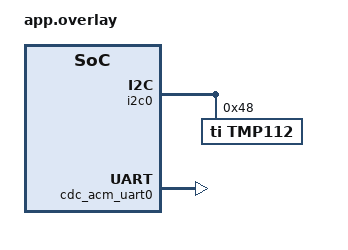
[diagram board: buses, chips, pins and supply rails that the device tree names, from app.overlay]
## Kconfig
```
source "Kconfig.zephyr"

module = APPMAIN
module-str = APPMAIN
source "${ZEPHYR_BASE}/subsys/logging/Kconfig.template.log_config"

module = APPSENS
module-str = APPSENS
source "${ZEPHYR_BASE}/subsys/logging/Kconfig.template.log_config"
```

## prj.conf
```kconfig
# Peripheral drivers
CONFIG_GPIO=y
CONFIG_I2C=y
CONFIG_SERIAL=y

# sensors 
CONFIG_SENSOR=y

CONFIG_TMP112=y

CONFIG_STDOUT_CONSOLE=y

CONFIG_LOG=y
CONFIG_LOG_PRINTK=y
CONFIG_USE_SEGGER_RTT=y
CONFIG_RTT_CONSOLE=n

#USB related configs
CONFIG_USB_DEVICE_STACK=y
CONFIG_USB_DEVICE_PRODUCT="Zephyr CDC ACM sample"
CONFIG_USB_DEVICE_PID=0x0001
CONFIG_UART_INTERRUPT_DRIVEN=y
CONFIG_UART_LINE_CTRL=y
CONFIG_USB_DEVICE_INITIALIZE_AT_BOOT=n

# Log Levels 
CONFIG_APPMAIN_LOG_LEVEL_DBG=y
CONFIG_USB_DRIVER_LOG_LEVEL_ERR=y
CONFIG_USB_DEVICE_LOG_LEVEL_ERR=y
```

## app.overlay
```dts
/*
 * Copyright (c) 2021 Nordic Semiconductor ASA
 *
 * SPDX-License-Identifier: Apache-2.0
 */

&i2c0 {
	tmp112@48 {
		compatible = "ti,tmp112";
		reg = <0x48>;
	};
};

&zephyr_udc0 {
	cdc_acm_uart0 {
		compatible = "zephyr,cdc-acm-uart";
	};
};
```

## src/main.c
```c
/*
 * Copyright (c) 2016 Intel Corporation
 *
 * SPDX-License-Identifier: Apache-2.0
 */

// system includes ------------------------------------------------------------
#include <zephyr/kernel.h>
#include <zephyr/device.h>
#include <zephyr/drivers/gpio.h>
#include <zephyr/drivers/uart.h>
#include <zephyr/drivers/sensor.h>

#include <zephyr/sys/util.h>
#include <zephyr/sys/ring_buffer.h>
#include <zephyr/usb/usb_device.h>
#include <zephyr/usb/usbd.h>

#include <zephyr/logging/log.h>

#include <inttypes.h>
#include <stdio.h>
#include <string.h>

// local includes -------------------------------------------------------------

// library includes -----------------------------------------------------------

// Macros and Defines ---------------------------------------------------------
LOG_MODULE_REGISTER(APPMAIN, CONFIG_APPMAIN_LOG_LEVEL);

/* 1000 msec = 1 sec */
#define SLEEP_TIME_MS   1000

/* The devicetree node identifier for the "led0" alias. */
#define LEDR_NODE DT_ALIAS(led0)
#define LEDG_NODE DT_ALIAS(led1)
#define LEDB_NODE DT_ALIAS(led2)

/*
 * Get button configuration from the devicetree sw0 alias. This is mandatory.
 */
#define SW0_NODE	DT_ALIAS(sw0)
#if !DT_NODE_HAS_STATUS(SW0_NODE, okay)
#error "Unsupported board: sw0 devicetree alias is not defined"
#endif

#define SW1_NODE	DT_ALIAS(sw1)
#if !DT_NODE_HAS_STATUS(SW1_NODE, okay)
#error "Unsupported board: sw1 devicetree alias is not defined"
#endif

#define RING_BUF_SIZE 1024

// enumerations ---------------------------------------------------------------

/*
 * A build error on this line means your board is unsupported.
 * See the sample documentation for information on how to fix this.
 */
enum eled {RED_LED, GREEN_LED, BLUE_LED, END_LED};

// structures -----------------------------------------------------------------

/// define the gpio callback
static struct gpio_callback button0_cb_data;
static struct gpio_callback button1_cb_data;

// global parameter declarations ----------------------------------------------

// local parameter declarations -----------------------------------------------
uint8_t ring_buffer[RING_BUF_SIZE];
struct ring_buf ringbuf;

// local function prototypes --------------------------------------------------
static int configure_leds(void);
static int configure_btns(void);
static int configure_usb(void);

// constant parameter initializations -----------------------------------------
static const struct gpio_dt_spec leds[] = 
{
  GPIO_DT_SPEC_GET(LEDR_NODE, gpios),
  GPIO_DT_SPEC_GET(LEDG_NODE, gpios),
  GPIO_DT_SPEC_GET(LEDB_NODE, gpios)
};

static const struct gpio_dt_spec button0 = GPIO_DT_SPEC_GET_OR(SW0_NODE, gpios,
							      {0});
static const struct gpio_dt_spec button1 = GPIO_DT_SPEC_GET_OR(SW1_NODE, gpios,
							      {0});

const struct device *dev_usb = DEVICE_DT_GET_ONE(zephyr_cdc_acm_uart);
const struct device *const dev_temp = DEVICE_DT_GET_ANY(ti_tmp112);

void button0_pressed(const struct device *dev, struct gpio_callback *cb,
		    uint32_t pins)
{
  LOG_DBG("Button 0 pressed at %" PRIu32 "", k_cycle_get_32());
}

void button1_pressed(const struct device *dev, struct gpio_callback *cb,
		    uint32_t pins)
{
  LOG_DBG("Button 1 pressed at %" PRIu32 "", k_cycle_get_32());
}

int main(void)
{
	int ret;
  uint8_t active_led = 0;
 	struct sensor_value attr;
  struct sensor_value temp_value;

  LOG_DBG("Let's go!");

  if (!configure_leds())
  {
    LOG_ERR("leds not ready");
    return 0;
  }

  if (!configure_btns())
  {
    LOG_ERR("buttons not ready");
    return 0;
  }

  if (IS_ENABLED(CONFIG_TMP112))
  {
    if (!device_is_ready(dev_temp))
    {
      LOG_ERR("Error: Device %s is not ready", dev_temp->name);
      return 0;
    }


    attr.val1 = 150;
    attr.val2 = 0;
    ret = sensor_attr_set(dev_temp, SENSOR_CHAN_AMBIENT_TEMP,
                          SENSOR_ATTR_FULL_SCALE, &attr);
    if (ret) 
    {
      LOG_ERR("sensor_attr_set failed ret %d", ret);
      return 0;
    }

    attr.val1 = 8;
    attr.val2 = 0;
    ret = sensor_attr_set(dev_temp, SENSOR_CHAN_AMBIENT_TEMP,
                          SENSOR_ATTR_SAMPLING_FREQUENCY, &attr);
    if (ret) 
    {
      LOG_ERR("sensor_attr_set failed ret %d\n", ret);
      return 0;
    }
  }

  if (!configure_usb())
  {
    LOG_ERR("usb not ready");
    return 0;
  }

  while (1) 
  {
    if (IS_ENABLED(CONFIG_TMP112))
    {
  		ret = sensor_sample_fetch(dev_temp);
  		if (ret) 
      {
  			LOG_ERR("sensor_sample_fetch failed ret %d", ret);
  			continue;
  		}

  		ret = sensor_channel_get(dev_temp, SENSOR_CHAN_AMBIENT_TEMP, &temp_value);
  		if (ret) 
      {
  			LOG_ERR("sensor_channel_get failed ret %d", ret);
  			continue;
  		}

  		LOG_INF("temp is %d (%d micro)", temp_value.val1, temp_value.val2);
    }


    for (uint8_t x = 0; x < 3; x++)
    {
      if (x == active_led)
      {
        ret = gpio_pin_set_dt(&leds[x], 1);
      }
      else
      {
        ret = gpio_pin_set_dt(&leds[x], 0);
      }

      if (ret < 0) 
      {
        LOG_ERR("led set fail");
        return 0;
      }
    }

    active_led++;
    if (active_led == END_LED)
    {
      active_led = RED_LED;
    }

		k_msleep(SLEEP_TIME_MS);
	}

  return 0;
}

static int configure_leds(void)
{
  int ret;

  if (!gpio_is_ready_dt(&leds[0]))
  {
    LOG_ERR("gpio not ready");
    return 0;
  }

  for (uint8_t x = 0; x < END_LED; x++)
  {
    ret = gpio_pin_configure_dt(&leds[x], GPIO_OUTPUT_INACTIVE);
    if (ret < 0) 
    {
      LOG_ERR("gpio red configure fail");
      return 0;
    }
  }

  // Turn on the red led solid until usb port is opened
  gpio_pin_configure_dt(&leds[RED_LED], GPIO_OUTPUT_ACTIVE);

  return 1;
}

static int configure_btns(void)
{
  int ret;

  if (!gpio_is_ready_dt(&button0)) 
  {
		LOG_ERR("Error: button device %s is not ready",
		       button0.port->name);
		return 0;
	}

  if (!gpio_is_ready_dt(&button1)) 
  {
    LOG_ERR("Error: button device %s is not ready",
           button1.port->name);
    return 0;
  }

	ret = gpio_pin_configure_dt(&button0, GPIO_INPUT);
	if (ret != 0) 
  {
		LOG_ERR("Error %d: failed to configure %s pin %d",
		       ret, button0.port->name, button0.pin);
		return 0;
	}

  ret = gpio_pin_configure_dt(&button1, GPIO_INPUT);
  if (ret != 0) 
  {
    LOG_ERR("Error %d: failed to configure %s pin %d",
           ret, button1.port->name, button1.pin);
    return 0;
  }

  ret = gpio_pin_interrupt_configure_dt(&button0,
					      GPIO_INT_EDGE_TO_ACTIVE);
	if (ret != 0) {
		LOG_ERR("Error %d: failed to configure interrupt on %s pin %d",
			ret, button0.port->name, button0.pin);
		return 0;
	}

  ret = gpio_pin_interrupt_configure_dt(&button1,
                GPIO_INT_EDGE_TO_ACTIVE);
  if (ret != 0) {
    LOG_ERR("Error %d: failed to configure interrupt on %s pin %d",
      ret, button1.port->name, button1.pin);
    return 0;
  }

  gpio_init_callback(&button0_cb_data, button0_pressed, BIT(button0.pin));
	gpio_add_callback(button0.port, &button0_cb_data);

  gpio_init_callback(&button1_cb_data, button1_pressed, BIT(button1.pin));
  gpio_add_callback(button1.port, &button1_cb_data);

  LOG_ERR("Set up button0 at %s pin %d", button0.port->name, button0.pin);
  LOG_ERR("Set up button1 at %s pin %d", button1.port->name, button1.pin);

  return 1;
}

static void interrupt_handler(const struct device *dev, void *user_data)
{
	ARG_UNUSED(user_data);

	while (uart_irq_update(dev) && uart_irq_is_pending(dev)) 
  {
		if (uart_irq_rx_ready(dev)) 
    {
			int recv_len, rb_len;
			uint8_t buffer[64];
			size_t len = MIN(ring_buf_space_get(&ringbuf),
					 sizeof(buffer));

			recv_len = uart_fifo_read(dev, buffer, len);
			if (recv_len < 0) 
      {
				LOG_ERR("Failed to read UART FIFO");
				recv_len = 0;
			};

			rb_len = ring_buf_put(&ringbuf, buffer, recv_len);
			if (rb_len < recv_len) 
      {
				LOG_ERR("Drop %u bytes", recv_len - rb_len);
			}

			LOG_DBG("tty fifo -> ringbuf %d bytes", rb_len);
			if (rb_len) 
      {
				uart_irq_tx_enable(dev);
			}
		}

		if (uart_irq_tx_ready(dev)) 
    {
			uint8_t buffer[64];
			int rb_len, send_len;

			rb_len = ring_buf_get(&ringbuf, buffer, sizeof(buffer));
			if (!rb_len) 
      {
				LOG_DBG("Ring buffer empty, disable TX IRQ");
				uart_irq_tx_disable(dev);
				continue;
			}

			send_len = uart_fifo_fill(dev, buffer, rb_len);
			if (send_len < rb_len) 
      {
				LOG_ERR("Drop %d bytes", rb_len - send_len);
			}

			LOG_DBG("ringbuf -> tty fifo %d bytes", send_len);
		}
	}
}

static int configure_usb(void)
{
  int ret;
  uint32_t baudrate, dtr = 0U;

  if (!device_is_ready(dev_usb)) 
  {
    LOG_ERR("CDC ACM device not ready");
    return 0;
  }

  ret = usb_enable(NULL);
  if (ret != 0) 
  {
    LOG_ERR("Failed to enable USB");
    return 0;
  }

  ring_buf_init(&ringbuf, sizeof(ring_buffer), ring_buffer);

  LOG_INF("Wait for DTR");
  while (true) 
  {
    uart_line_ctrl_get(dev_usb, UART_LINE_CTRL_DTR, &dtr);
    if (dtr) 
    {
      break;
    }
    else 
    {
      /* Give CPU resources to low priority threads. */
      k_sleep(K_MSEC(100));
    }
  }

  LOG_INF("DTR set");

  /* They are optional, we use them to test the interrupt endpoint */
  ret = uart_line_ctrl_set(dev_usb, UART_LINE_CTRL_DCD, 1);
  if (ret) 
  {
    LOG_WRN("Failed to set DCD, ret code %d", ret);
  }

  ret = uart_line_ctrl_set(dev_usb, UART_LINE_CTRL_DSR, 1);
  if (ret) 
  {
    LOG_WRN("Failed to set DSR, ret code %d", ret);
  }

  /* Wait 100ms for the host to do all settings */
  k_msleep(100);

  ret = uart_line_ctrl_get(dev_usb, UART_LINE_CTRL_BAUD_RATE, &baudrate);
  if (ret) 
  {
    LOG_WRN("Failed to get baudrate, ret code %d", ret);
  }
  else 
  {
    LOG_INF("Baudrate detected: %d", baudrate);
  }

  uart_irq_callback_set(dev_usb, interrupt_handler);

  /* Enable rx interrupts */
  uart_irq_rx_enable(dev_usb);

  return 1;
}
```

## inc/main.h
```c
#ifndef __APP_MAIN_H__
#define __APP_MAIN_H__

#include <stdint.h>
#include <stdbool.h>

void systemWaitStart(void);

#endif /* __APP_MAIN_H__ */
```

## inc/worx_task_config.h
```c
/**
 *
 * For the flag. T_ means task. H_ means HAL module. U_ would means utils.
 */

#ifndef _WORX_TASK_CONFIG_H_
#define _WORX_TASK_CONFIG_H_
#include <cmsis_os2.h>

/* Note that Zephyr's implementation is backwards from
 * CMSIS OS documentation
 */
#define OS_QUEUE_NOTIMEOUT 0

#define CONFIG_BLOCK_ADDRESS    (2048 * (64-1))
#define MCU_ID_ADDRESS          0x1FFF7A10
#define MCU_FLASH_SIZE_ADDRESS  0x1FFF7A22
#ifndef WORX_HEAP_SIZE
  #define WORX_HEAP_SIZE      30000
#endif
#define WORX_MIN_STACK_SIZE 256 

/* 
 * FreeRTOS Config params
 * I saw no point in changing these everywhere 
*/
#define configTICK_RATE_HZ_RAW  1000
#define configTICK_RATE_HZ			( ( portTickType ) configTICK_RATE_HZ_RAW )
#define configMINIMAL_STACK_SIZE	( ( unsigned short ) WORX_MIN_STACK_SIZE )
#define configTOTAL_HEAP_SIZE		( ( size_t ) ( WORX_HEAP_SIZE ) )
#define configMAX_TASK_NAME_LEN		( 10 )

//Milliseconds to OS Ticks
#if configTICK_RATE_HZ_RAW != 1000
  #error "Please review the use of M2T and T2M if there is not a 1 to 1 mapping between ticks and milliseconds"
#endif
#define M2T(X) ((unsigned int)(X))
#define F2T(X) ((unsigned int)((configTICK_RATE_HZ/(X))))
#define T2M(X) ((unsigned int)(X))

/* End FreeRTOS Config params */

/* 
 * Priorities Defined in main
 * To align with CMSIS style priorities 
 * these are using the real time selections. 
 *  
 * CMSIS to Zephyr 
 * (osPriorityISR (56) - c_prio) 
 *  
 * #define PRIORITY 7               == osPriorityRealtime1
 * #define PRIORITY_HI PRIORITY - 1 == osPriorityRealtime2
 */

// Task priorities
#define SENSORS_TASK_PRI              osPriorityRealtime2   // CMSIS 50, Zephyr 6, FreeRTOS Priority 4

// Task names
#define SENSORS_TASK_NAME             "SENS"

//Task stack sizes
#define STACK_SIZE_DBGLOG_MULTIPLIER  10

#define SENSORS_TASK_STACKSIZE        (STACK_SIZE_DBGLOG_MULTIPLIER * configMINIMAL_STACK_SIZE) 

#endif /* _WORX_TASK_CONFIG_H_ */
```
